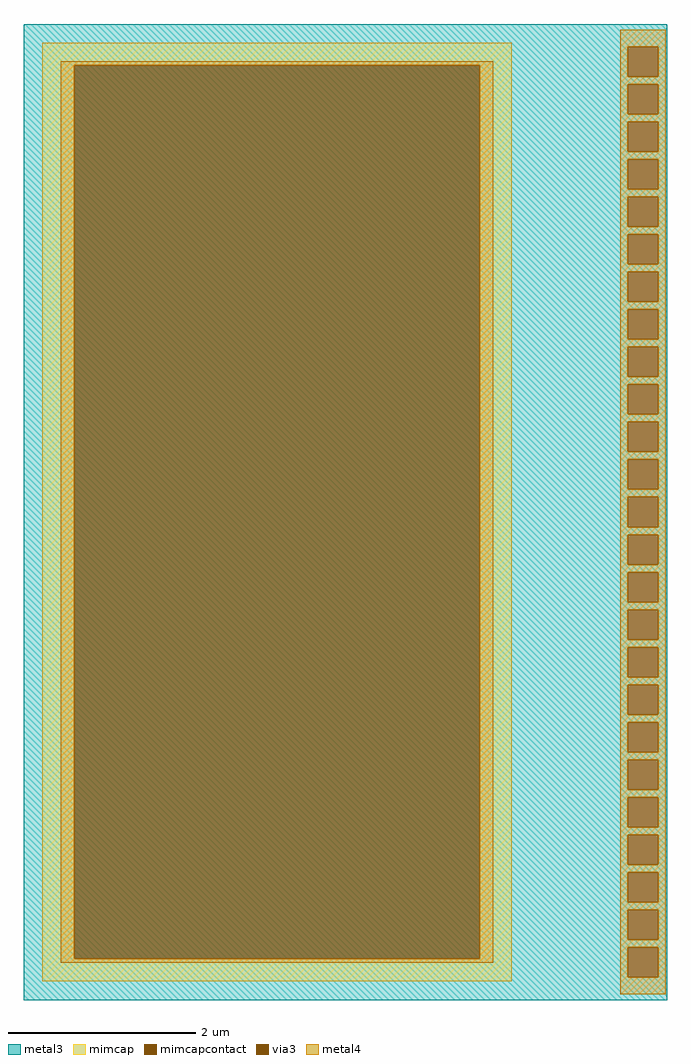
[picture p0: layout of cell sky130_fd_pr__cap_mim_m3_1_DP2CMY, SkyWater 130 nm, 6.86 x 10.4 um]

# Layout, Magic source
magic
tech sky130A
magscale 1 2
<< metal3 >>
rect -686 992 686 1040
rect -686 928 602 992
rect 666 928 686 992
rect -686 912 686 928
rect -686 848 602 912
rect 666 848 686 912
rect -686 832 686 848
rect -686 768 602 832
rect 666 768 686 832
rect -686 752 686 768
rect -686 688 602 752
rect 666 688 686 752
rect -686 672 686 688
rect -686 608 602 672
rect 666 608 686 672
rect -686 592 686 608
rect -686 528 602 592
rect 666 528 686 592
rect -686 512 686 528
rect -686 448 602 512
rect 666 448 686 512
rect -686 432 686 448
rect -686 368 602 432
rect 666 368 686 432
rect -686 352 686 368
rect -686 288 602 352
rect 666 288 686 352
rect -686 272 686 288
rect -686 208 602 272
rect 666 208 686 272
rect -686 192 686 208
rect -686 128 602 192
rect 666 128 686 192
rect -686 112 686 128
rect -686 48 602 112
rect 666 48 686 112
rect -686 32 686 48
rect -686 -32 602 32
rect 666 -32 686 32
rect -686 -48 686 -32
rect -686 -112 602 -48
rect 666 -112 686 -48
rect -686 -128 686 -112
rect -686 -192 602 -128
rect 666 -192 686 -128
rect -686 -208 686 -192
rect -686 -272 602 -208
rect 666 -272 686 -208
rect -686 -288 686 -272
rect -686 -352 602 -288
rect 666 -352 686 -288
rect -686 -368 686 -352
rect -686 -432 602 -368
rect 666 -432 686 -368
rect -686 -448 686 -432
rect -686 -512 602 -448
rect 666 -512 686 -448
rect -686 -528 686 -512
rect -686 -592 602 -528
rect 666 -592 686 -528
rect -686 -608 686 -592
rect -686 -672 602 -608
rect 666 -672 686 -608
rect -686 -688 686 -672
rect -686 -752 602 -688
rect 666 -752 686 -688
rect -686 -768 686 -752
rect -686 -832 602 -768
rect 666 -832 686 -768
rect -686 -848 686 -832
rect -686 -912 602 -848
rect 666 -912 686 -848
rect -686 -928 686 -912
rect -686 -992 602 -928
rect 666 -992 686 -928
rect -686 -1040 686 -992
<< via3 >>
rect 602 928 666 992
rect 602 848 666 912
rect 602 768 666 832
rect 602 688 666 752
rect 602 608 666 672
rect 602 528 666 592
rect 602 448 666 512
rect 602 368 666 432
rect 602 288 666 352
rect 602 208 666 272
rect 602 128 666 192
rect 602 48 666 112
rect 602 -32 666 32
rect 602 -112 666 -48
rect 602 -192 666 -128
rect 602 -272 666 -208
rect 602 -352 666 -288
rect 602 -432 666 -368
rect 602 -512 666 -448
rect 602 -592 666 -528
rect 602 -672 666 -608
rect 602 -752 666 -688
rect 602 -832 666 -768
rect 602 -912 666 -848
rect 602 -992 666 -928
<< mimcap >>
rect -646 952 354 1000
rect -646 -952 -578 952
rect 286 -952 354 952
rect -646 -1000 354 -952
<< mimcapcontact >>
rect -578 -952 286 952
<< metal4 >>
rect 586 992 682 1028
rect -607 952 315 961
rect -607 -952 -578 952
rect 286 -952 315 952
rect -607 -961 315 -952
rect 586 928 602 992
rect 666 928 682 992
rect 586 912 682 928
rect 586 848 602 912
rect 666 848 682 912
rect 586 832 682 848
rect 586 768 602 832
rect 666 768 682 832
rect 586 752 682 768
rect 586 688 602 752
rect 666 688 682 752
rect 586 672 682 688
rect 586 608 602 672
rect 666 608 682 672
rect 586 592 682 608
rect 586 528 602 592
rect 666 528 682 592
rect 586 512 682 528
rect 586 448 602 512
rect 666 448 682 512
rect 586 432 682 448
rect 586 368 602 432
rect 666 368 682 432
rect 586 352 682 368
rect 586 288 602 352
rect 666 288 682 352
rect 586 272 682 288
rect 586 208 602 272
rect 666 208 682 272
rect 586 192 682 208
rect 586 128 602 192
rect 666 128 682 192
rect 586 112 682 128
rect 586 48 602 112
rect 666 48 682 112
rect 586 32 682 48
rect 586 -32 602 32
rect 666 -32 682 32
rect 586 -48 682 -32
rect 586 -112 602 -48
rect 666 -112 682 -48
rect 586 -128 682 -112
rect 586 -192 602 -128
rect 666 -192 682 -128
rect 586 -208 682 -192
rect 586 -272 602 -208
rect 666 -272 682 -208
rect 586 -288 682 -272
rect 586 -352 602 -288
rect 666 -352 682 -288
rect 586 -368 682 -352
rect 586 -432 602 -368
rect 666 -432 682 -368
rect 586 -448 682 -432
rect 586 -512 602 -448
rect 666 -512 682 -448
rect 586 -528 682 -512
rect 586 -592 602 -528
rect 666 -592 682 -528
rect 586 -608 682 -592
rect 586 -672 602 -608
rect 666 -672 682 -608
rect 586 -688 682 -672
rect 586 -752 602 -688
rect 666 -752 682 -688
rect 586 -768 682 -752
rect 586 -832 602 -768
rect 666 -832 682 -768
rect 586 -848 682 -832
rect 586 -912 602 -848
rect 666 -912 682 -848
rect 586 -928 682 -912
rect 586 -992 602 -928
rect 666 -992 682 -928
rect 586 -1028 682 -992
<< properties >>
string FIXED_BBOX -686 -1040 394 1040
<< end >>
